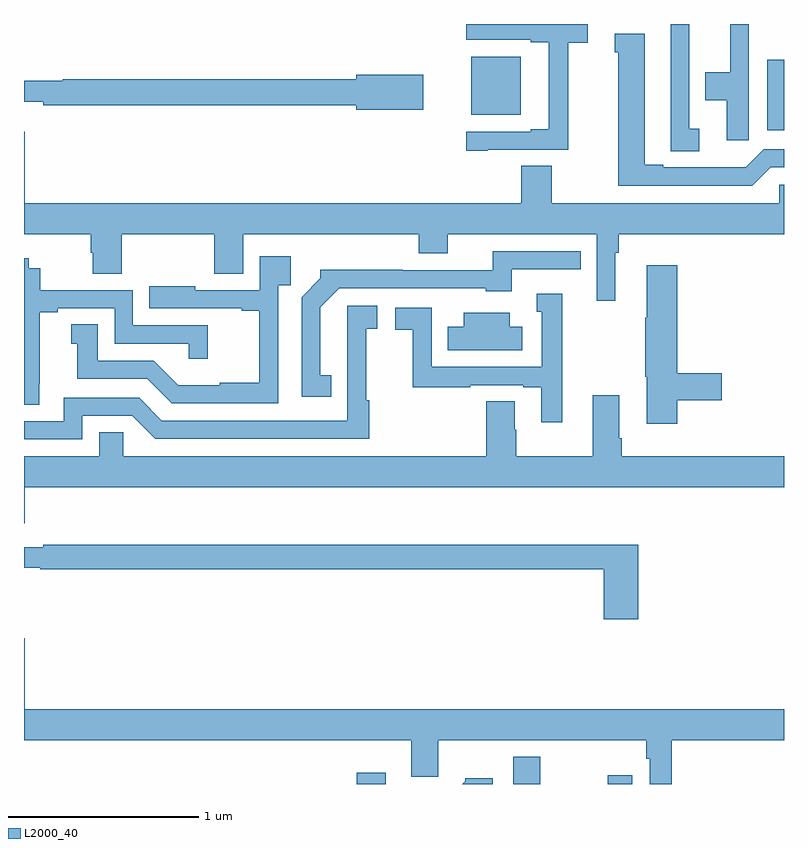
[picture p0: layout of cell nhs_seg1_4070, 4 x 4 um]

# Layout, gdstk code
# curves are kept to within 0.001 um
import gdstk
lib = gdstk.Library(unit=1e-6, precision=1e-09)
def R(c, l, rs):  # rectangles x0, y0, x1, y1
    for r in rs: c.add(gdstk.rectangle(r[:2], r[2:], *l))
def P(c, l, *ps):  # polygons
    for p in ps: c.add(gdstk.Polygon(p, *l))
L2000_40 = (2000, 40)

nhs_seg1_4070 = lib.new_cell('nhs_seg1_4070')
R(nhs_seg1_4070, L2000_40, [(334.751,522.199,334.903,522.259), (335.574,522.199,335.718,522.343), (336.073,522.199,336.202,522.246), (336.911,525.641,337,526.012), (335.354,525.722,335.614,526.027)])
P(nhs_seg1_4070, L2000_40, [(336.814,526.199),(336.716,526.199),(336.716,525.946),(336.586,525.946),(336.586,525.799),(336.698,525.799),(336.698,525.588),(336.814,525.588)],
  [(336.553,525.648),(336.501,525.648),(336.501,526.199),(336.404,526.199),(336.404,525.637),(336.405,525.637),(336.405,525.529),(336.553,525.529)],
  [(335.44,525.537),(335.864,525.537),(335.864,526.1),(335.968,526.1),(335.968,526.199),(335.328,526.199),(335.328,526.116),(335.666,526.116),(335.666,526.104),(335.762,526.104),(335.762,525.646),(335.666,525.646),(335.666,525.633),(335.328,525.633),(335.328,525.532),(335.44,525.532)],
  [(336.93,525.444),(337,525.444),(337,525.54),(336.894,525.54),(336.799,525.445),(336.364,525.444),(336.364,525.459),(336.268,525.459),(336.267,526.148),(336.11,526.148),(336.11,526.05),(336.128,526.05),(336.128,525.348),(336.834,525.348)],
  [(335.101,525.932),(334.748,525.932),(334.748,525.908),(333.203,525.908),(333.203,525.901),(333,525.901),(333,525.791),(333.1,525.791),(333.1,525.772),(334.748,525.772),(334.748,525.749),(335.101,525.749)],
  [(336.112,524.996),(336.131,524.996),(336.131,525.092),(337,525.092),(337,525.354),(336.975,525.354),(336.975,525.256),(335.778,525.256),(335.778,525.452),(335.618,525.452),(335.618,525.256),(333.004,525.256),(333.004,525.631),(333,525.631),(333,525.092),(333.35,525.092),(333.35,524.994),(333.362,524.994),(333.362,524.884),(333.515,524.884),(333.515,525.092),(334.001,525.092),(334.001,524.884),(334.153,524.884),(334.153,525.092),(335.078,525.092),(335.078,524.993),(335.23,524.993),(335.23,525.092),(336.015,525.092),(336.015,524.742),(336.112,524.742)],
  [(334.616,524.351),(334.558,524.351),(334.558,524.707),(334.659,524.808),(335.43,524.808),(335.43,524.792),(335.566,524.792),(335.566,524.907),(335.93,524.907),(335.93,525.003),(335.467,525.003),(335.467,524.904),(334.994,524.904),(334.994,524.906),(334.56,524.906),(334.56,524.861),(334.461,524.762),(334.461,524.238),(334.616,524.238)],
  [(334.338,524.825),(334.403,524.825),(334.403,524.977),(334.242,524.977),(334.242,524.799),(333.901,524.799),(333.901,524.818),(333.658,524.818),(333.658,524.703),(334.145,524.703),(334.145,524.691),(334.237,524.691),(334.237,524.311),(334.031,524.311),(334.031,524.299),(333.812,524.299),(333.684,524.427),(333.388,524.427),(333.388,524.618),(333.248,524.618),(333.248,524.515),(333.281,524.515),(333.281,524.331),(333.648,524.331),(333.777,524.202),(334.338,524.202)],
  [(333.08,524.305),(333.082,524.305),(333.082,524.683),(333.178,524.683),(333.178,524.703),(333.477,524.703),(333.477,524.517),(333.867,524.517),(333.867,524.436),(333.968,524.436),(333.968,524.613),(333.573,524.613),(333.573,524.799),(333.086,524.799),(333.086,524.913),(333.024,524.913),(333.024,524.965),(333,524.965),(333,524.194),(333.08,524.194)],
  [(336.437,524.218),(336.673,524.218),(336.673,524.36),(336.437,524.36),(336.437,524.929),(336.278,524.929),(336.278,524.654),(336.271,524.654),(336.271,524.343),(336.278,524.343),(336.278,524.094),(336.437,524.094)],
  [(335.833,524.779),(335.699,524.779),(335.699,524.685),(335.724,524.685),(335.724,524.394),(335.145,524.394),(335.145,524.706),(334.953,524.706),(334.953,524.59),(335.047,524.59),(335.047,524.286),(335.348,524.286),(335.348,524.298),(335.627,524.298),(335.627,524.286),(335.723,524.286),(335.723,524.103),(335.833,524.103)],
  [(333.306,524.136),(333.57,524.136),(333.69,524.016),(334.817,524.016),(334.817,524.219),(334.8,524.219),(334.8,524.595),(334.858,524.595),(334.858,524.716),(334.7,524.716),(334.701,524.112),(333.726,524.112),(333.606,524.232),(333.21,524.232),(333.21,524.109),(333,524.109),(333,524.013),(333.306,524.013)],
  [(335.623,524.605),(335.557,524.605),(335.557,524.68),(335.315,524.68),(335.315,524.605),(335.23,524.605),(335.23,524.483),(335.623,524.483)],
  [(333.004,523.76),(337,523.76),(337,523.924),(336.146,523.924),(336.146,524.02),(336.133,524.02),(336.133,524.245),(335.993,524.245),(335.993,523.924),(335.592,523.924),(335.592,524.063),(335.584,524.063),(335.584,524.213),(335.432,524.213),(335.432,523.924),(333.522,523.924),(333.522,524.051),(333.395,524.051),(333.395,523.924),(333,523.924),(333,523.572),(333.004,523.572)],
  [(336.233,523.459),(333.1,523.459),(333.1,523.446),(333,523.446),(333,523.338),(333.086,523.338),(333.086,523.33),(336.05,523.33),(336.05,523.065),(336.233,523.065)],
  [(336.41,522.428),(337,522.428),(337,522.592),(333.004,522.592),(333.004,522.967),(333,522.967),(333,522.428),(335.039,522.428),(335.039,522.238),(335.179,522.238),(335.179,522.428),(336.274,522.428),(336.274,522.332),(336.294,522.332),(336.294,522.199),(336.41,522.199)],
  [(335.467,522.229),(335.322,522.229),(335.322,522.214),(335.307,522.199),(335.467,522.199)])

lib.write_gds('nhs_seg1_4070.gds')
